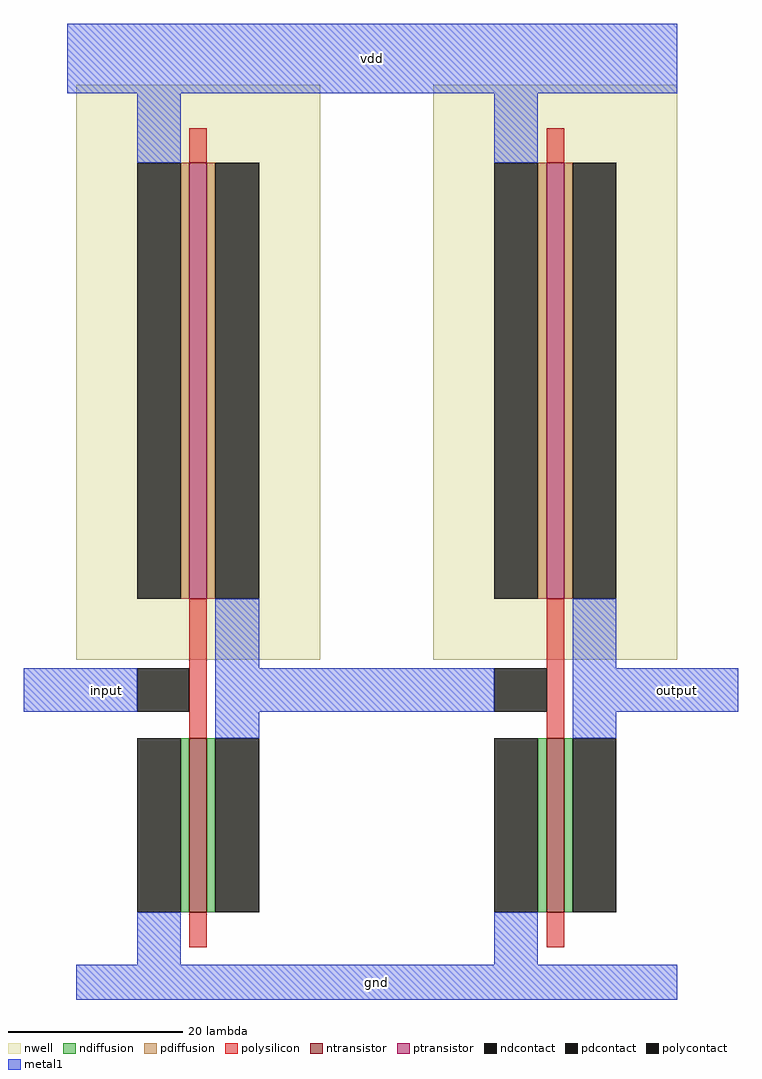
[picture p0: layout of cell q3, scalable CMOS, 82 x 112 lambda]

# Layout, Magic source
magic
tech scmos
<< metal1 >>
rect 5 104 75 112
rect 6 0 75 4
use cmosinverter1  cmosinverter1_0
transform 1 0 8 0 1 42
box -8 -42 33 70
use cmosinverter1  cmosinverter1_1
transform 1 0 49 0 1 42
box -8 -42 33 70
<< labels >>
rlabel metal1 5 104 75 112 5 vdd
rlabel metal1 6 0 75 4 1 gnd
rlabel space 0 33 19 38 1 input
rlabel space 68 33 82 38 1 output
<< end >>

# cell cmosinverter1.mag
magic
tech scmos
<< nwell >>
rect -2 -3 26 63
<< ntransistor >>
rect 11 -32 13 -12
<< ptransistor >>
rect 11 4 13 54
<< ndiffusion >>
rect 10 -32 11 -12
rect 13 -32 14 -12
<< pdiffusion >>
rect 10 4 11 54
rect 13 4 14 54
<< ndcontact >>
rect 5 -32 10 -12
rect 14 -32 19 -12
<< pdcontact >>
rect 5 4 10 54
rect 14 4 19 54
<< polysilicon >>
rect 11 54 13 58
rect 11 -12 13 4
rect 11 -36 13 -32
<< polycontact >>
rect 5 -9 11 -4
<< metal1 >>
rect -2 62 26 70
rect 5 54 10 62
rect 14 -4 19 4
rect -8 -9 5 -4
rect 14 -9 33 -4
rect 14 -12 19 -9
rect 5 -38 10 -32
rect -2 -42 26 -38
<< end >>
